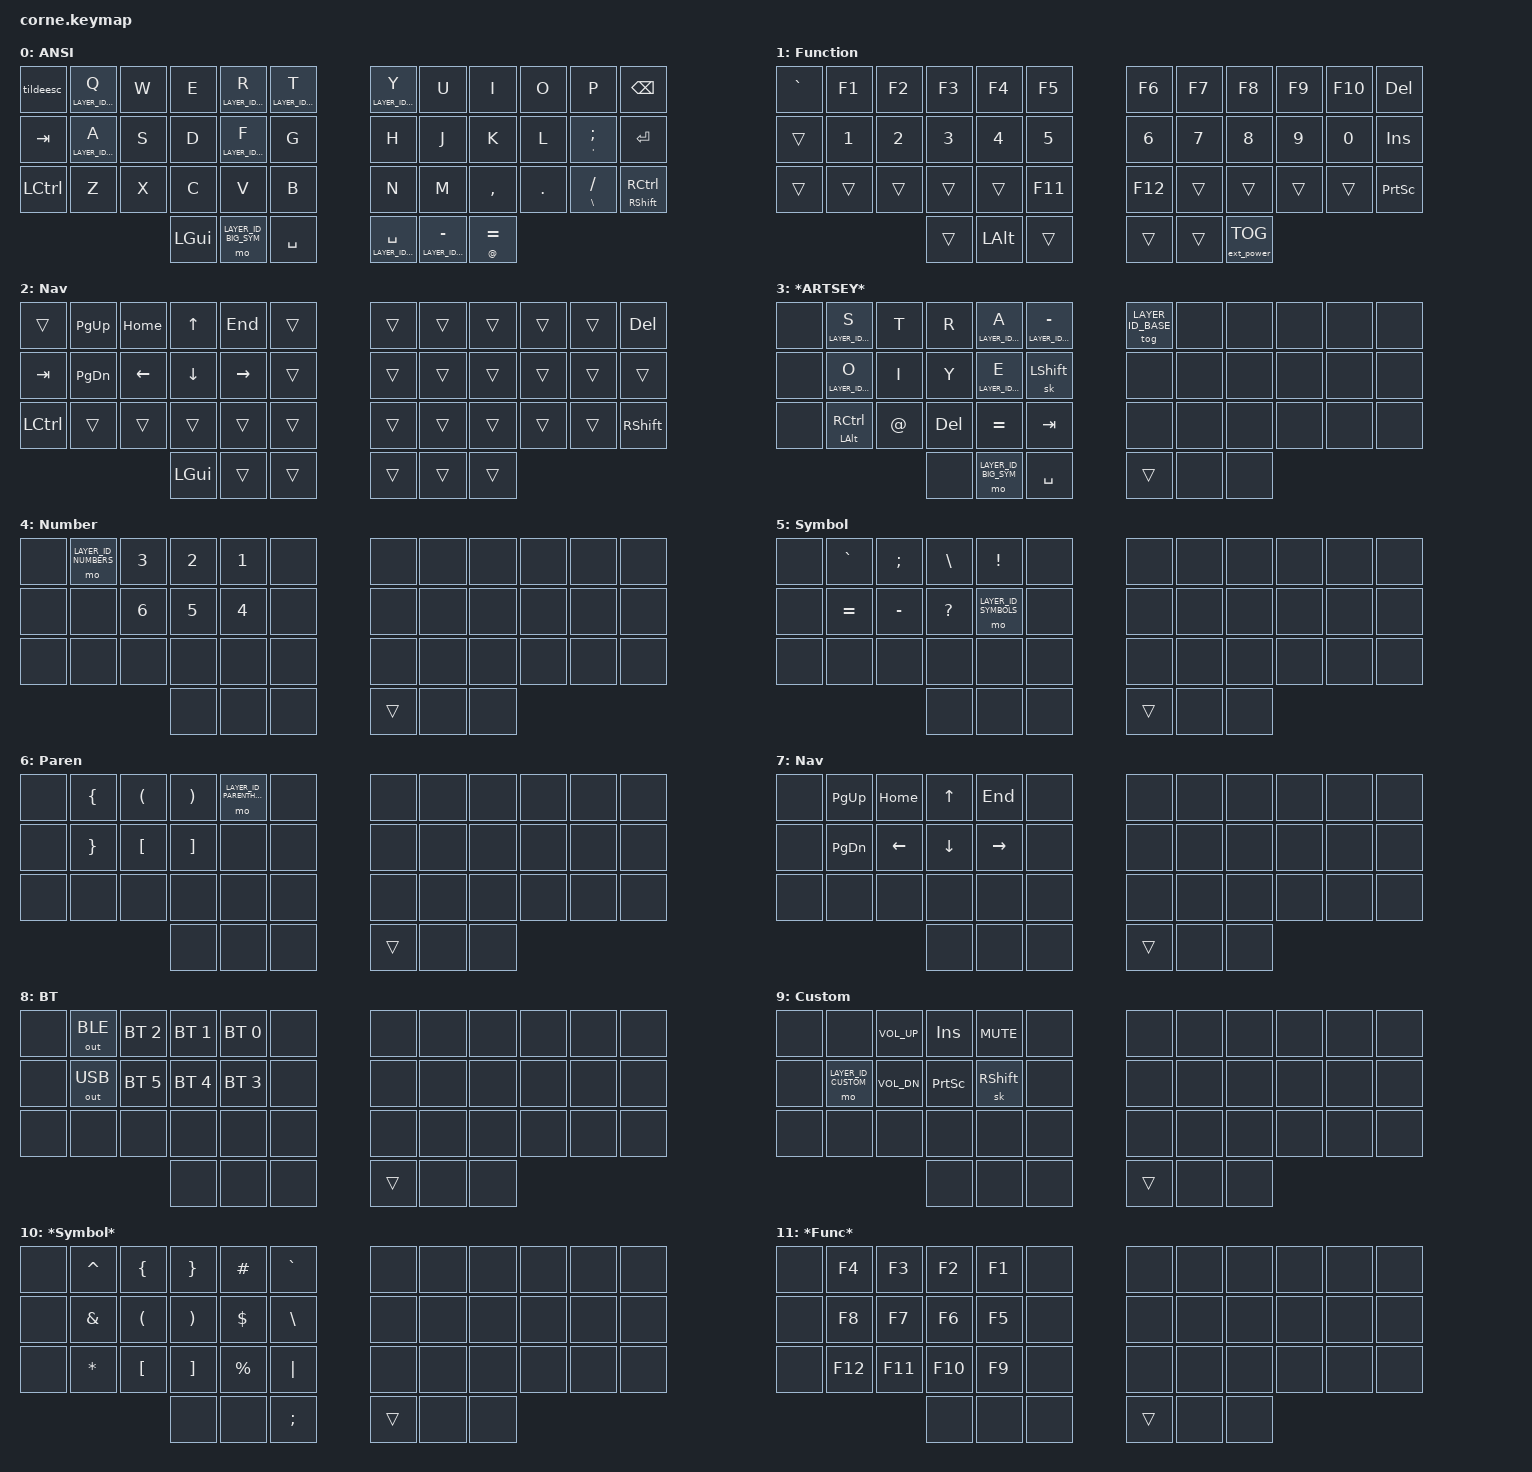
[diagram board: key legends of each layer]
/*
 * Copyright (c) 2020 The ZMK Contributors
 *
 * SPDX-License-Identifier: MIT
 */

 /*****************************************
 *   - YOU MUST SET THE FOLLOWING CONFIG VALUES FOR THIS SETUP TO WORK PROPERLY IN YOUR BOARDS .conf FILE
 *     - CONFIG_ZMK_COMBO_MAX_COMBOS_PER_KEY=16
 *     - CONFIG_ZMK_COMBO_MAX_KEYS_PER_COMBO=8
 *     - CONFIG_ZMK_COMBO_MAX_PRESSED_COMBOS=8
 *****************************************/

////////////////////////////////////////
// Various includes
#include <behaviors.dtsi>
#include <dt-bindings/zmk/keys.h>
#include <dt-bindings/zmk/rgb.h>
#include <dt-bindings/zmk/ext_power.h>
#include <dt-bindings/zmk/bt.h>
#include <dt-bindings/zmk/outputs.h>

////////////////////////////////////////
// Layers
#define LAYER_ID_GLOBAL -1
#define LAYER_ID_DEFAULT 0
#define LAYER_ID_FUNC 1
#define LAYER_ID_NAV 2
#define LAYER_ID_BASE 3
#define LAYER_ID_NUMBERS 4
#define LAYER_ID_SYMBOLS 5
#define LAYER_ID_PARENTHETICALS 6
#define LAYER_ID_NAVIGATION 7
#define LAYER_ID_BT_SEL 8
#define LAYER_ID_CUSTOM 9
#define LAYER_ID_BIG_SYM 10
#define LAYER_ID_BIG_FUNCTION 11
#define LAYERS_ARTSEY_BASE LAYER_ID_DEFAULT LAYER_ID_BASE
#define LAYERS_ARTSEY LAYER_ID_BASE LAYER_ID_NUMBERS LAYER_ID_SYMBOLS LAYER_ID_PARENTHETICALS LAYER_ID_NAVIGATION LAYER_ID_BT_SEL LAYER_ID_CUSTOM LAYER_ID_BIG_SYM LAYER_ID_BIG_FUNCTION
#define LAYERS_ARTSEY_PLUS LAYER_ID_DEFAULT LAYERS_ARTSEY

////////////////////////////////////////
// Artsey definitions
#define ARTSEY_BT_TOP &out OUT_BLE
#define ARTSEY_BT_BOTTOM &out OUT_USB
#define TIMEOUT_COMBO_2 150
#define TIMEOUT_COMBO_3 150
#define TIMEOUT_COMBO_4 150
#define TIMEOUT_LAYER_HOLD 250
#define ARTSEY_BASE_A A
#define ARTSEY_BASE_R R
#define ARTSEY_BASE_T T
#define ARTSEY_BASE_S S
#define ARTSEY_BASE_E E
#define ARTSEY_BASE_Y Y
#define ARTSEY_BASE_I I
#define ARTSEY_BASE_O O
#define ARTSEY_COMBO_N N
#define KEY_A 4
#define KEY_R 3
#define KEY_T 2
#define KEY_S 1
#define KEY_E 16
#define KEY_Y 15
#define KEY_I 14
#define KEY_O 13
#define KEY_F_TOP 5
#define KEY_F_BOTTOM 17

////////////////////////////////////////
// Enable OLED
&pro_micro_i2c {
	status = "okay";
};

////////////////////////////////////////
// Sticky / Leader Keys / Hold Tap Keys
#define TIMEOUT_STICKY_LEADER_KEY 5000
&sk {
	release-after-ms = <TIMEOUT_STICKY_LEADER_KEY>;
};
&sl { 
	release-after-ms = <TIMEOUT_STICKY_LEADER_KEY>;
};

////////////////////////////////////////
// Behaviors
/ {
    behaviors {
		tildeesc: tilde_escape {
			compatible = "zmk,behavior-mod-morph";
			label = "tildeesc";
			#binding-cells = <0>;
			bindings = <&kp ESC>, <&kp TILDE>;
            mods = <(MOD_LSFT)>;
		};
		artsey: artsey { compatible = "zmk,behavior-hold-tap"; label = "artsey"; 
						#binding-cells = <2>; tapping_term_ms = <TIMEOUT_LAYER_HOLD>; flavor = "tap-preferred"; 
						bindings = <&tog>, <&kp>; };
        ht_mo_kp: ht_mo_kp { compatible = "zmk,behavior-hold-tap"; label = "ht_mo_kp"; 
                        #binding-cells = <2>; tapping_term_ms = <TIMEOUT_LAYER_HOLD>; flavor = "tap-preferred"; 
                        bindings = <&mo>, <&kp>; };
		ht_mo_kp: ht_mo_kp { compatible = "zmk,behavior-hold-tap"; label = "ht_mo_kp"; 
                        #binding-cells = <2>; tapping_term_ms = <TIMEOUT_LAYER_HOLD>; flavor = "tap-preferred"; 
                        bindings = <&mo>, <&kp>; };
        ht_kp_kp: ht_kp_kp { compatible = "zmk,behavior-hold-tap"; label = "ht_kp_kp"; 
						#binding-cells = <2>; tapping_term_ms = <TIMEOUT_LAYER_HOLD>; flavor = "tap-preferred"; 
						bindings = <&kp>, <&kp>; };
		layer_base_kp: layer_base_kp { compatible = "zmk,behavior-hold-tap"; label = "layer_base_kp"; 
						#binding-cells = <2>; tapping_term_ms = <TIMEOUT_LAYER_HOLD>; flavor = "tap-preferred"; 
						bindings = <&mo>, <&kp>; };
		layer_numbers_kp: layer_numbers_kp { compatible = "zmk,behavior-hold-tap"; label = "layer_numbers_kp"; 
						#binding-cells = <2>; tapping_term_ms = <TIMEOUT_LAYER_HOLD>; flavor = "tap-preferred"; 
						bindings = <&mo>, <&kp>; };
		layer_symbols_kp: layer_symbols_kp { compatible = "zmk,behavior-hold-tap"; label = "layer_symbols_kp"; 
						#binding-cells = <2>; tapping_term_ms = <TIMEOUT_LAYER_HOLD>; flavor = "tap-preferred"; 
						bindings = <&mo>, <&kp>; };
		layer_parentheticals_kp: layer_parentheticals_kp { compatible = "zmk,behavior-hold-tap"; label = "layer_parentheticals_kp";
						#binding-cells = <2>; tapping_term_ms = <TIMEOUT_LAYER_HOLD>; flavor = "tap-preferred";
						bindings = <&mo>, <&kp>; };
		layer_custom_kp: layer_custom_kp { compatible = "zmk,behavior-hold-tap"; label = "layer_custom_kp";
						#binding-cells = <2>; tapping_term_ms = <TIMEOUT_LAYER_HOLD>; flavor = "tap-preferred";
						bindings = <&mo>, <&kp>; };
        ctrl_alt_kp: ctrl_alt_kp { compatible = "zmk,behavior-hold-tap"; label = "ctrl_alt_kp";
						#binding-cells = <2>; tapping_term_ms = <TIMEOUT_LAYER_HOLD>; flavor = "tap-preferred";
						bindings = <&sk>, <&sk>; };
	};
};

////////////////////////////////////////
// Combos
/ {
	combos {
		compatible = "zmk,combos";
		/*****************************************
		 * 2 key combos
		 *****************************************/
		// Function layer doesn't apply to non-big artsey presently
		#if defined ARTSEY_BIG
		combo_layer_functions { layers = <LAYERS_ARTSEY_PLUS>; key-positions = <KEY_F_TOP KEY_F_BOTTOM>; bindings = <&sl LAYER_ID_BIG_FUNCTION>; };
		#endif
		combo_enter      { layers = <LAYERS_ARTSEY>; timeout-ms = <TIMEOUT_COMBO_2>; key-positions = <KEY_A KEY_E>; bindings = <&kp ENTER>; };
		combo_control    { layers = <LAYERS_ARTSEY>; timeout-ms = <TIMEOUT_COMBO_2>; key-positions = <KEY_E KEY_S>; bindings = <&sk RCTRL>; };
		combo_gui        { layers = <LAYERS_ARTSEY>; timeout-ms = <TIMEOUT_COMBO_2>; key-positions = <KEY_Y KEY_S>; bindings = <&sk LGUI>; };
		combo_alt        { layers = <LAYERS_ARTSEY_PLUS>; timeout-ms = <TIMEOUT_COMBO_2>; key-positions = <KEY_I KEY_S>; bindings = <&sk LALT>; };
		combo_backspace  { layers = <LAYERS_ARTSEY>; timeout-ms = <TIMEOUT_COMBO_2>; key-positions = <KEY_E KEY_R>; bindings = <&kp BACKSPACE>; };
		combo_delete     { layers = <LAYERS_ARTSEY>; timeout-ms = <TIMEOUT_COMBO_2>; key-positions = <KEY_I KEY_R>; bindings = <&kp DELETE>; };
		combo_shift_lock { layers = <LAYERS_ARTSEY_BASE>; timeout-ms = <TIMEOUT_COMBO_2>; key-positions = <KEY_R KEY_Y>; bindings = <&kt LSHFT>; };

		combo_b           { layers = <LAYER_ID_BASE>; timeout-ms = <TIMEOUT_COMBO_2>; key-positions = <KEY_E KEY_O>; bindings = <&kp B>; };
		combo_c           { layers = <LAYER_ID_BASE>; timeout-ms = <TIMEOUT_COMBO_2>; key-positions = <KEY_E KEY_Y>; bindings = <&kp C>; };
		combo_n           { layers = <LAYER_ID_BASE>; timeout-ms = <TIMEOUT_COMBO_2>; key-positions = <KEY_I KEY_O>; bindings = <&kp ARTSEY_COMBO_N>; };
		combo_f           { layers = <LAYER_ID_BASE>; timeout-ms = <TIMEOUT_COMBO_2>; key-positions = <KEY_A KEY_R>; bindings = <&kp F>; };
		combo_g           { layers = <LAYER_ID_BASE>; timeout-ms = <TIMEOUT_COMBO_2>; key-positions = <KEY_R KEY_T>; bindings = <&kp G>; };
		combo_u           { layers = <LAYER_ID_BASE>; timeout-ms = <TIMEOUT_COMBO_2>; key-positions = <KEY_Y KEY_I>; bindings = <&kp U>; };
		combo_h           { layers = <LAYER_ID_BASE>; timeout-ms = <TIMEOUT_COMBO_2>; key-positions = <KEY_E KEY_I>; bindings = <&kp H>; };
		combo_v           { layers = <LAYER_ID_BASE>; timeout-ms = <TIMEOUT_COMBO_2>; key-positions = <KEY_R KEY_S>; bindings = <&kp V>; };
		combo_j           { layers = <LAYER_ID_BASE>; timeout-ms = <TIMEOUT_COMBO_2>; key-positions = <KEY_T KEY_S>; bindings = <&kp J>; };
		combo_w           { layers = <LAYER_ID_BASE>; timeout-ms = <TIMEOUT_COMBO_2>; key-positions = <KEY_A KEY_S>; bindings = <&kp W>; };
		combo_k           { layers = <LAYER_ID_BASE>; timeout-ms = <TIMEOUT_COMBO_2>; key-positions = <KEY_Y KEY_O>; bindings = <&kp K>; };
		combo_comma       { layers = <LAYER_ID_BASE>; timeout-ms = <TIMEOUT_COMBO_2>; key-positions = <KEY_A KEY_Y>; bindings = <&kp COMMA>; };
		combo_period      { layers = <LAYER_ID_BASE>; timeout-ms = <TIMEOUT_COMBO_2>; key-positions = <KEY_A KEY_I>; bindings = <&kp PERIOD>; };
		combo_slash       { layers = <LAYER_ID_BASE>; timeout-ms = <TIMEOUT_COMBO_2>; key-positions = <KEY_A KEY_O>; bindings = <&kp SLASH>; };
		combo_exclamation { layers = <LAYERS_ARTSEY_BASE>; timeout-ms = <TIMEOUT_COMBO_2>; key-positions = <KEY_T KEY_I>; bindings = <&kp EXCL>; };
		
		combo_seven { layers = <LAYER_ID_NUMBERS>; timeout-ms = <TIMEOUT_COMBO_2>; key-positions = <KEY_A KEY_R>; bindings = <&kp N7>; };
		combo_eight { layers = <LAYER_ID_NUMBERS>; timeout-ms = <TIMEOUT_COMBO_2>; key-positions = <KEY_R KEY_T>; bindings = <&kp N8>; };
		combo_nine  { layers = <LAYER_ID_NUMBERS>; timeout-ms = <TIMEOUT_COMBO_2>; key-positions = <KEY_E KEY_Y>; bindings = <&kp N9>; };
		combo_zero  { layers = <LAYER_ID_NUMBERS>; timeout-ms = <TIMEOUT_COMBO_2>; key-positions = <KEY_Y KEY_I>; bindings = <&kp N0>; };

		/*****************************************
		 * 3 key combos
		 *****************************************/
		combo_esc              { layers = <LAYERS_ARTSEY>; timeout-ms = <TIMEOUT_COMBO_3>; key-positions = <KEY_A KEY_R KEY_O>; bindings = <&kp ESC>; };
		combo_layer_navigation { layers = <LAYERS_ARTSEY>; timeout-ms = <TIMEOUT_COMBO_3>; key-positions = <KEY_R KEY_E KEY_I>; bindings = <&tog LAYER_ID_NAVIGATION>; };

		combo_m            { layers = <LAYER_ID_BASE>; timeout-ms = <TIMEOUT_COMBO_3>; key-positions = <KEY_Y KEY_I KEY_O>; bindings = <&kp M>; };
		combo_d            { layers = <LAYER_ID_BASE>; timeout-ms = <TIMEOUT_COMBO_3>; key-positions = <KEY_A KEY_R KEY_T>; bindings = <&kp D>; };
		combo_p            { layers = <LAYER_ID_BASE>; timeout-ms = <TIMEOUT_COMBO_3>; key-positions = <KEY_E KEY_I KEY_O>; bindings = <&kp P>; };
		combo_q            { layers = <LAYER_ID_BASE>; timeout-ms = <TIMEOUT_COMBO_3>; key-positions = <KEY_A KEY_T KEY_S>; bindings = <&kp Q>; };
		combo_x            { layers = <LAYER_ID_BASE>; timeout-ms = <TIMEOUT_COMBO_3>; key-positions = <KEY_R KEY_T KEY_S>; bindings = <&kp X>; };
		combo_l            { layers = <LAYER_ID_BASE>; timeout-ms = <TIMEOUT_COMBO_3>; key-positions = <KEY_E KEY_Y KEY_I>; bindings = <&kp L>; };
		combo_single_quote { layers = <LAYERS_ARTSEY_BASE>; timeout-ms = <TIMEOUT_COMBO_3>; key-positions = <KEY_A KEY_Y KEY_I>; bindings = <&kp SQT>; };
		
		/*****************************************
		 * 4 key combos
		 *****************************************/
		combo_tab             { layers = <LAYERS_ARTSEY>; timeout-ms = <TIMEOUT_COMBO_4>; key-positions = <KEY_A KEY_R KEY_T KEY_O>; bindings = <&kp TAB>; };
		combo_space           { layers = <LAYERS_ARTSEY_PLUS>; timeout-ms = <TIMEOUT_COMBO_4>; key-positions = <KEY_E KEY_Y KEY_I KEY_O>; bindings = <&kp SPACE>; };
		combo_shift           { layers = <LAYERS_ARTSEY_PLUS>; timeout-ms = <TIMEOUT_COMBO_4>; key-positions = <KEY_E KEY_R KEY_T KEY_S>; bindings = <&sk LSHFT>; };
		combo_layer_bt_select { layers = <LAYERS_ARTSEY_PLUS>; timeout-ms = <TIMEOUT_COMBO_4>; key-positions = <KEY_A KEY_E KEY_S KEY_O>; bindings = <&tog LAYER_ID_BT_SEL>; };
		combo_bt_clr          { layers = <LAYERS_ARTSEY_PLUS>; timeout-ms = <TIMEOUT_COMBO_4>; key-positions = <KEY_R KEY_Y KEY_T KEY_I>; bindings = <&bt BT_CLR>; };

		combo_z         { layers = <LAYER_ID_BASE>; timeout-ms = <TIMEOUT_COMBO_4>; key-positions = <KEY_A KEY_R KEY_T KEY_S>; bindings = <&kp Z>; };
		combo_caps_lock { layers = <LAYERS_ARTSEY_BASE>; timeout-ms = <TIMEOUT_COMBO_4>; key-positions = <KEY_O KEY_I KEY_Y KEY_A>; bindings = <&kp CAPS>; };
	};
};

////////////////////////////////////////
// Keymap (main THEN artsey)
/ {
	keymap {
		compatible = "zmk,keymap";
		default_layer {
			label = "ANSI";
			bindings = <
&tildeesc  &layer_numbers_kp LAYER_ID_NUMBERS Q  &kp W  &kp E  &layer_parentheticals_kp LAYER_ID_PARENTHETICALS R  &artsey LAYER_ID_BASE T  &artsey LAYER_ID_BASE Y  &kp U  &kp I      &kp O   &kp P               &kp BSPC
&kp TAB    &layer_custom_kp LAYER_ID_CUSTOM A    &kp S  &kp D  &layer_symbols_kp LAYER_ID_SYMBOLS F                &kp G                    &kp H                    &kp J  &kp K      &kp L   &ht_kp_kp SQT SEMI  &kp RET
&kp LCTRL  &kp Z                                 &kp X  &kp C  &kp V                                               &kp B                    &kp N                    &kp M  &kp COMMA  &kp DOT &ht_kp_kp BSLH FSLH &ht_kp_kp RSHFT RCTRL
&kp LGUI   &mo LAYER_ID_BIG_SYM    &kp SPACE    &ht_mo_kp LAYER_ID_NAV SPACE    &ht_mo_kp LAYER_ID_FUNC MINUS    &ht_kp_kp AT EQUAL
			>;
		};

		function_layer {
			label = "Function";
			bindings = <
&kp GRAVE  &kp F1  &kp F2  &kp F3  &kp F4  &kp F5  &kp F6   &kp F7  &kp F8  &kp F9  &kp F10  &kp DEL
&trans     &kp N1  &kp N2  &kp N3  &kp N4  &kp N5  &kp N6   &kp N7  &kp N8  &kp N9  &kp N0   &kp INSERT
&trans     &trans  &trans  &trans  &trans  &kp F11 &kp F12  &trans  &trans  &trans  &trans   &kp PSCRN
&trans   &kp LALT    &trans    &trans    &trans    &ext_power EP_TOG
			>;
		};

		nav_layer {
			label = "Nav";
			bindings = <
&trans     &kp PG_UP  &kp HOME  &kp UP      &kp END    &trans  &trans  &trans  &trans  &trans  &trans  &kp DEL
&kp TAB    &kp PG_DN  &kp LEFT  &kp DOWN    &kp RIGHT  &trans  &trans  &trans  &trans  &trans  &trans  &trans
&kp LCTRL  &trans     &trans    &trans      &trans     &trans  &trans  &trans  &trans  &trans  &trans  &kp RSHFT 
&kp LGUI    &trans    &trans    &trans    &trans    &trans
			>;
		};

artsey_base {
			label = "*ARTSEY*";
            bindings = <
&none  &layer_numbers_kp LAYER_ID_NUMBERS ARTSEY_BASE_S    &kp ARTSEY_BASE_T     &kp ARTSEY_BASE_R     &layer_parentheticals_kp LAYER_ID_PARENTHETICALS ARTSEY_BASE_A &artsey LAYER_ID_BASE MINUS  &tog LAYER_ID_BASE  &none  &none  &none  &none  &none
&none  &layer_custom_kp LAYER_ID_CUSTOM ARTSEY_BASE_O      &kp ARTSEY_BASE_I     &kp ARTSEY_BASE_Y     &layer_symbols_kp LAYER_ID_SYMBOLS ARTSEY_BASE_E               &sk LSHFT  &none  &none  &none  &none  &none  &none
&none  &ctrl_alt_kp LALT RCTRL                             &kp AT                &kp DEL               &kp EQUAL                                                      &kp TAB    &none  &none  &none  &none  &none  &none
&none    &mo LAYER_ID_BIG_SYM    &kp SPACE    &trans    &none    &none
			>;
		};
        artsey_numbers {
			label = "Number";
            bindings = <
&none &mo LAYER_ID_NUMBERS  &kp N3  &kp N2  &kp N1  &none  &none  &none  &none  &none  &none  &none
&none &none                 &kp N6  &kp N5  &kp N4  &none  &none  &none  &none  &none  &none  &none
&none &none                 &none   &none   &none   &none  &none  &none  &none  &none  &none  &none
&none    &none    &none    &trans    &none    &none
            >;
		};
        artsey_symbols {
			label = "Symbol";
            bindings = <
&none &kp GRAVE  &kp SEMI   &kp BSLH   &kp EXCL              &none  &none  &none  &none  &none  &none  &none
&none &kp EQUAL  &kp MINUS  &kp QMARK  &mo LAYER_ID_SYMBOLS  &none  &none  &none  &none  &none  &none  &none
&none &none      &none      &none      &none                 &none  &none  &none  &none  &none  &none  &none
&none    &none    &none    &trans    &none    &none
            >;
		};
        artsey_parentheticals {
			label = "Paren";
            bindings = <
&none &kp LBRC  &kp LPAR  &kp RPAR  &mo LAYER_ID_PARENTHETICALS  &none  &none  &none  &none  &none  &none  &none
&none &kp RBRC  &kp LBKT  &kp RBKT  &none                        &none  &none  &none  &none  &none  &none  &none
&none &none     &none     &none     &none                        &none  &none  &none  &none  &none  &none  &none
&none    &none    &none    &trans    &none    &none
            >;
		};
        artsey_navigation {
			label = "Nav";
            bindings = <
&none &kp PG_UP  &kp HOME  &kp UP    &kp END    &none  &none  &none  &none  &none  &none  &none
&none &kp PG_DN  &kp LEFT  &kp DOWN  &kp RIGHT  &none  &none  &none  &none  &none  &none  &none
&none &none      &none     &none     &none      &none  &none  &none  &none  &none  &none  &none
&none    &none    &none    &trans    &none    &none
            >;
		};
        artsey_bt {
			label = "BT";
            bindings = <
&none ARTSEY_BT_TOP    &bt BT_SEL 2 &bt BT_SEL 1 &bt BT_SEL 0  &none  &none  &none  &none  &none  &none  &none
&none ARTSEY_BT_BOTTOM &bt BT_SEL 5 &bt BT_SEL 4 &bt BT_SEL 3  &none  &none  &none  &none  &none  &none  &none
&none &none            &none        &none        &none         &none  &none  &none  &none  &none  &none  &none
&none    &none    &none    &trans    &none    &none
            >;
		};
        artsey_custom {
			label = "Custom";
            bindings = <
&none &none                &kp C_VOL_UP  &kp INS   &kp C_MUTE  &none  &none  &none  &none  &none  &none  &none
&none &mo LAYER_ID_CUSTOM  &kp C_VOL_DN  &kp PSCRN &sk RSHFT   &none  &none  &none  &none  &none  &none  &none
&none &none                &none         &none     &none       &none  &none  &none  &none  &none  &none  &none
&none    &none    &none    &trans    &none    &none
            >;
		};
        big_artsey_symbol {
			label = "*Symbol*";
            bindings = <
&none  &kp CARET  &kp LBRC  &kp RBRC  &kp HASH   &kp GRAVE  &none  &none  &none  &none  &none  &none
&none  &kp AMPS   &kp LPAR  &kp RPAR  &kp DLLR   &kp BSLH   &none  &none  &none  &none  &none  &none
&none  &kp ASTRK  &kp LBKT  &kp RBKT  &kp PRCNT  &kp PIPE   &none  &none  &none  &none  &none  &none
&none    &none    &kp SEMI    &trans    &none    &none
            >;
		};
        big_artsey_function {
			label = "*Func*";
            bindings = <
&none  &kp F4   &kp F3   &kp F2   &kp F1  &none  &none  &none  &none  &none  &none  &none
&none  &kp F8   &kp F7   &kp F6   &kp F5  &none  &none  &none  &none  &none  &none  &none
&none  &kp F12  &kp F11  &kp F10  &kp F9  &none  &none  &none  &none  &none  &none  &none
&none    &none    &none    &trans    &none    &none
            >;
		};
	};
};
